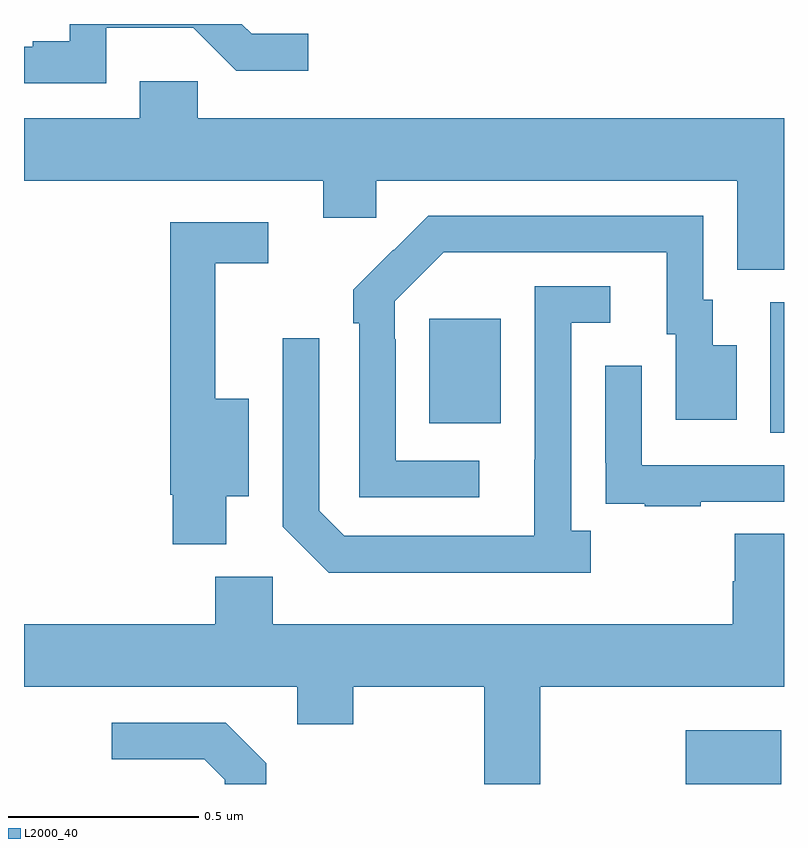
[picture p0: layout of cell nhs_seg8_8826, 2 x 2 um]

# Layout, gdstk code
import gdstk
lib = gdstk.Library(unit=1e-6, precision=1e-09)
def R(c, l, rs):  # rectangles x0, y0, x1, y1
    for r in rs: c.add(gdstk.rectangle(r[:2], r[2:], *l))
def P(c, l, *ps):  # polygons
    for p in ps: c.add(gdstk.Polygon(p, *l))
L2000_40 = (2000, 40)

nhs_seg8_8826 = lib.new_cell('nhs_seg8_8826')
R(nhs_seg8_8826, L2000_40, [(229.742,1126.9,229.993,1127.041), (229.964,1127.824,230,1128.168), (229.067,1127.849,229.255,1128.124)])
P(nhs_seg8_8826, L2000_40, [(228.216,1128.89),(228.445,1128.89),(228.558,1128.777),(228.748,1128.777),(228.748,1128.874),(228.599,1128.874),(228.573,1128.9),(228.12,1128.9),(228.12,1128.854),(228.023,1128.854),(228.023,1128.84),(228,1128.84),(228,1128.744),(228.216,1128.744)],
  [(230,1128.652),(228.457,1128.652),(228.457,1128.75),(228.305,1128.75),(228.305,1128.652),(228,1128.652),(228,1128.488),(228.788,1128.488),(228.788,1128.39),(228.927,1128.39),(228.927,1128.488),(229.877,1128.488),(229.877,1128.253),(230,1128.253)],
  [(229.198,1127.751),(228.978,1127.751),(228.978,1128.071),(228.975,1128.071),(228.975,1128.171),(229.104,1128.3),(229.691,1128.3),(229.691,1128.084),(229.715,1128.084),(229.715,1127.859),(229.876,1127.859),(229.876,1128.055),(229.813,1128.055),(229.813,1128.174),(229.788,1128.174),(229.788,1128.396),(229.064,1128.396),(228.973,1128.305),(228.972,1128.306),(228.867,1128.201),(228.867,1128.113),(228.882,1128.113),(228.882,1127.655),(229.198,1127.655)],
  [(228.532,1127.657),(228.592,1127.657),(228.592,1127.914),(228.503,1127.914),(228.503,1128.27),(228.643,1128.27),(228.643,1128.378),(228.385,1128.378),(228.385,1127.661),(228.392,1127.661),(228.392,1127.531),(228.532,1127.531)],
  [(229.492,1127.566),(229.44,1127.566),(229.44,1128.114),(229.543,1128.114),(229.543,1128.21),(229.344,1128.21),(229.344,1127.753),(229.343,1127.753),(229.343,1127.553),(228.843,1127.553),(228.777,1127.619),(228.777,1128.073),(228.681,1128.073),(228.681,1127.577),(228.802,1127.456),(229.492,1127.456)],
  [(229.781,1127.643),(230,1127.643),(230,1127.739),(229.626,1127.739),(229.626,1128.001),(229.53,1128.001),(229.53,1127.746),(229.531,1127.746),(229.531,1127.637),(229.633,1127.637),(229.633,1127.631),(229.781,1127.631)],
  [(229.359,1127.156),(230,1127.156),(230,1127.558),(229.87,1127.558),(229.87,1127.433),(229.865,1127.433),(229.865,1127.32),(228.654,1127.32),(228.654,1127.446),(228.503,1127.446),(228.503,1127.32),(228,1127.32),(228,1127.156),(228.719,1127.156),(228.719,1127.057),(228.867,1127.057),(228.867,1127.156),(229.211,1127.156),(229.211,1126.9),(229.359,1126.9)],
  [(228.637,1126.955),(228.531,1127.061),(228.231,1127.061),(228.231,1126.965),(228.474,1126.965),(228.528,1126.911),(228.528,1126.9),(228.637,1126.9)])

lib.write_gds('nhs_seg8_8826.gds')
